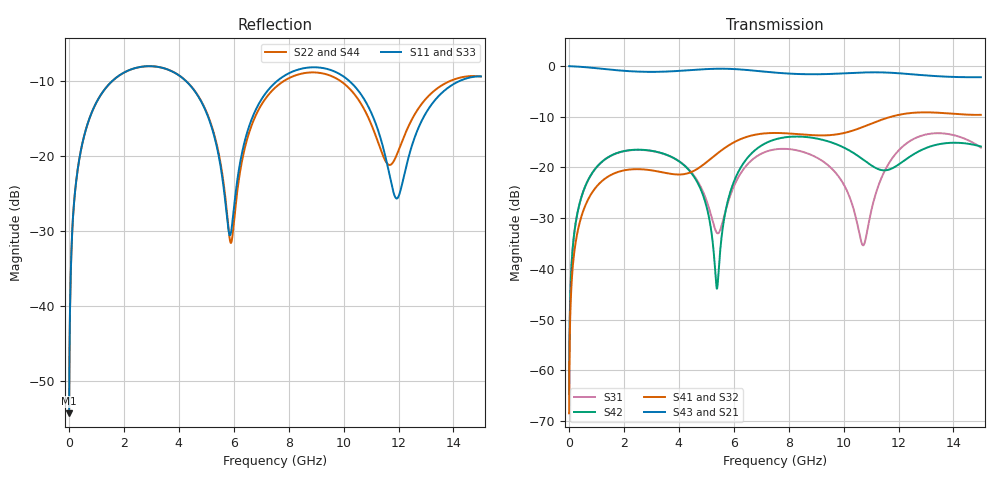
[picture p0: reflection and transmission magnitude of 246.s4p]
! Created with skrf 1.8.0 (http://scikit-rf.org).
# GHz S RI R 50.0
!freq ReS11 ImS11 ReS12 ImS12 ReS13 ImS13
! ReS14 ImS14
! ReS21 ImS21 ReS22 ImS22 ReS23 ImS23
! ReS24 ImS24
! ReS31 ImS31 ReS32 ImS32 ReS33 ImS33
! ReS34 ImS34
! ReS41 ImS41 ReS42 ImS42 ReS43 ImS43
! ReS44 ImS44
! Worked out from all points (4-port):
!   2499 points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, 5 MHz to 15 GHz, reference 50 ohm
!   strongest paths, dB at 5 MHz, 3.476 GHz, 7.19 GHz, 11.1 GHz, 15 GHz:
!     S43: 0.0, -1.1, -1.1, -1.2, -2.2
!     S21: 0.0, -1.1, -1.1, -1.2, -2.2
!     S41: -68.5, -21.0, -13.2, -11.2, -9.6
!     S32: -68.5, -21.1, -13.3, -11.2, -9.6
!     S42: -64.6, -17.3, -15.1, -19.9, -15.8
!     S31: -64.6, -17.4, -16.9, -26.6, -16.1
!   lowest |S11| = -54.3 dB at 5 MHz (marker M1), VSWR 1.00, Z = 50.2 + j0.117 ohm
!   |S11| at or under -10 dB: start of sweep to 1.581 GHz; 4.254 GHz to 7.584 GHz (3.33 GHz wide, 56.3 % of centre); 10.2 GHz to 14.23 GHz (4.027 GHz wide, 33 % of centre)
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0.005  0.00153 0.00117  0.9984 -0.00298  7.56e-05 0.000581  -7.36e-05 -0.000368
       0.9984 -0.00298  0.00153 0.00117  -7.36e-05 -0.000368  7.56e-05 0.000581
       7.56e-05 0.000581  -7.36e-05 -0.000368  0.00153 0.00117  0.9984 -0.00298
       -7.36e-05 -0.000368  7.56e-05 0.000581  0.9984 -0.00298  0.00153 0.00117
0.3126303  0.0214 0.0772  0.9709 -0.1858  0.00928 0.0348  -0.00782 -0.0219
           0.9709 -0.1858  0.0213 0.0772  -0.00782 -0.0219  0.00939 0.0348
           0.00928 0.0348  -0.00782 -0.0219  0.0214 0.0772  0.9709 -0.1857
           -0.00782 -0.0219  0.00939 0.0348  0.9709 -0.1857  0.0213 0.0772
1.519383  0.2439 0.1888  0.6065 -0.6947  0.1122 0.0659  -0.0828 -0.0152
          0.6065 -0.6947  0.2435 0.1891  -0.0827 -0.0153  0.1134 0.0645
          0.1122 0.0659  -0.0827 -0.0153  0.2439 0.1888  0.6066 -0.6947
          -0.0828 -0.0152  0.1134 0.0645  0.6066 -0.6947  0.2434 0.1891
5.389746  0.0543 -0.0999  -0.8879 -0.3134  -0.0212 -0.00791  -0.0406 0.1304
          -0.8879 -0.3134  0.0537 -0.1043  -0.0418 0.13  0.00636 0.000254
          -0.0212 -0.00791  -0.0418 0.13  0.0528 -0.0991  -0.8881 -0.3133
          -0.0406 0.1304  0.00636 0.000254  -0.8881 -0.3133  0.0544 -0.1028
9.153814  0.3829 -0.059  0.0302 0.8317  0.1164 -0.0267  0.1972 -0.0634
          0.0302 0.8317  0.3562 -0.0242  0.1974 -0.0607  0.1169 -0.1494
          0.1164 -0.0267  0.1974 -0.0607  0.3843 -0.0578  0.0291 0.8314
          0.1972 -0.0634  0.1169 -0.1494  0.0291 0.8314  0.357 -0.0241
10.71071  0.1657 -0.1806  0.6402 0.5817  0.0156 0.00695  0.1616 -0.1925
          0.6402 0.5817  0.17 -0.1247  0.1647 -0.1897  -0.0745 -0.0938
          0.0156 0.00695  0.1647 -0.1897  0.1661 -0.1818  0.6386 0.583
          0.1616 -0.1925  -0.0745 -0.0938  0.6386 0.583  0.1725 -0.1242
15  0.3391 -0.00761  0.0617 -0.7735  0.1131 -0.1087  -0.3294 0.0265
    0.0617 -0.7735  0.3371 -0.0236  -0.3294 0.0195  0.0993 -0.127
    0.1131 -0.1087  -0.3294 0.0195  0.3381 -0.00413  0.0659 -0.7739
    -0.3294 0.0265  0.0993 -0.127  0.0659 -0.7739  0.3352 -0.0238
